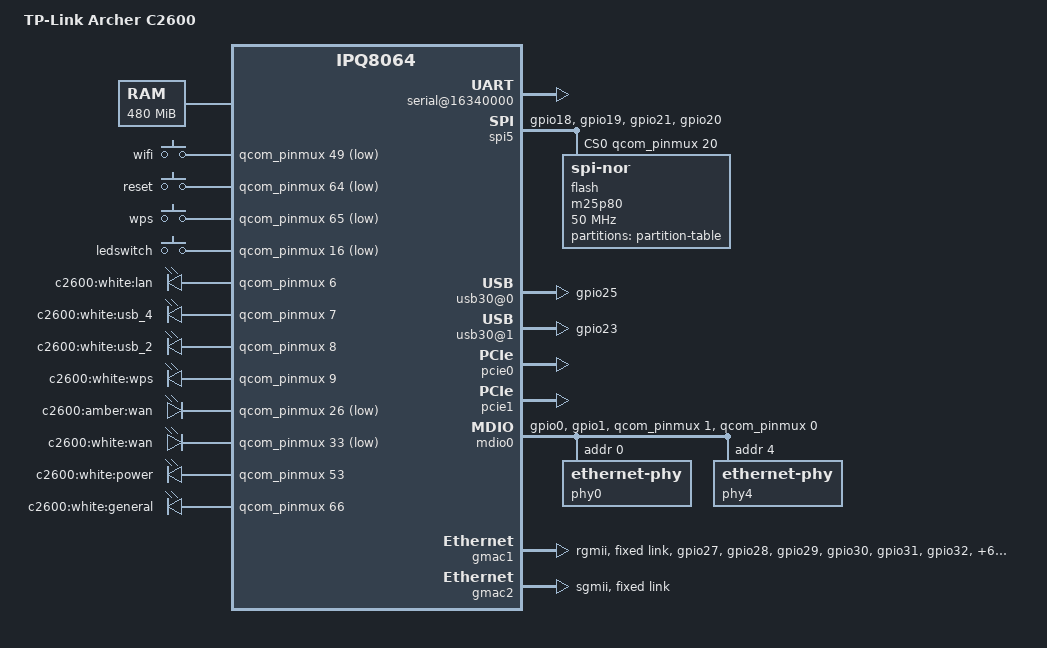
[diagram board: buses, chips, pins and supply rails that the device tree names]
#include "qcom-ipq8064-v2.0.dtsi"

#include <dt-bindings/input/input.h>

/ {
	model = "TP-Link Archer C2600";
	compatible = "tplink,c2600", "qcom,ipq8064";

	memory@0 {
		reg = <0x42000000 0x1e000000>;
		device_type = "memory";
	};

	reserved-memory {
		#address-cells = <1>;
		#size-cells = <1>;
		ranges;
		rsvd@41200000 {
			reg = <0x41200000 0x300000>;
			no-map;
		};
	};

	aliases {
		serial0 = &gsbi4_serial;
		mdio-gpio0 = &mdio0;

		led-boot = &power;
		led-failsafe = &general;
		led-running = &power;
		led-upgrade = &general;
	};

	chosen {
		linux,stdout-path = "serial0:115200n8";
	};

	soc {
		pinmux@800000 {
			button_pins: button_pins {
				mux {
					pins = "gpio16", "gpio54", "gpio65";
					function = "gpio";
					drive-strength = <2>;
					bias-pull-up;
				};
			};

			i2c4_pins: i2c4_pinmux {
				mux {
					pins = "gpio12", "gpio13";
					function = "gsbi4";
					drive-strength = <12>;
					bias-disable;
				};
			};

			led_pins: led_pins {
				mux {
					pins = "gpio6", "gpio7", "gpio8", "gpio9", "gpio26", "gpio33",
					       "gpio53", "gpio66";
					function = "gpio";
					drive-strength = <2>;
					bias-pull-up;
				};
			};

			spi_pins: spi_pins {
				mux {
					pins = "gpio18", "gpio19", "gpio21";
					function = "gsbi5";
					bias-pull-down;
				};

				data {
					pins = "gpio18", "gpio19";
					drive-strength = <10>;
				};

				cs {
					pins = "gpio20";
					function = "gpio";
					drive-strength = <10>;
					bias-pull-up;
				};

				clk {
					pins = "gpio21";
					drive-strength = <12>;
				};
			};

			mdio0_pins: mdio0_pins {
				mux {
					pins = "gpio0", "gpio1";
					function = "gpio";
					drive-strength = <8>;
					bias-disable;
				};
			};

			rgmii2_pins: rgmii2_pins {
				mux {
					pins = "gpio27", "gpio28", "gpio29", "gpio30", "gpio31", "gpio32",
					       "gpio51", "gpio52", "gpio59", "gpio60", "gpio61", "gpio62" ;
					function = "rgmii2";
					drive-strength = <8>;
					bias-disable;
				};
			};

			usb0_pwr_en_pin: usb0_pwr_en_pin {
				mux {
					pins = "gpio25";
					function = "gpio";
					drive-strength = <10>;
					bias-pull-up;
					output-high;
				};
			};

			usb1_pwr_en_pin: usb1_pwr_en_pin {
				mux {
					pins = "gpio23";
					function = "gpio";
					drive-strength = <10>;
					bias-pull-up;
					output-high;
				};
			};
		};

		gsbi@16300000 {
			qcom,mode = <GSBI_PROT_I2C_UART>;
			status = "ok";
			serial@16340000 {
				status = "ok";
			};
			/*
			 * The i2c device on gsbi4 should not be enabled.
			 * On ipq806x designs gsbi4 i2c is meant for exclusive
			 * RPM usage. Turning this on in kernel manifests as
			 * i2c failure for the RPM.
			 */
		};

		gsbi5: gsbi@1a200000 {
			qcom,mode = <GSBI_PROT_SPI>;
			status = "ok";

			spi5: spi@1a280000 {
				status = "ok";

				pinctrl-0 = <&spi_pins>;
				pinctrl-names = "default";

				cs-gpios = <&qcom_pinmux 20 GPIO_ACTIVE_HIGH>;

				flash: m25p80@0 {
					compatible = "jedec,spi-nor";
					#address-cells = <1>;
					#size-cells = <1>;
					spi-max-frequency = <50000000>;
					reg = <0>;

					SBL1@0 {
						label = "SBL1";
						reg = <0x0 0x20000>;
						read-only;
					};

					MIBIB@20000 {
						label = "MIBIB";
						reg = <0x20000 0x20000>;
						read-only;
					};

					SBL2@40000 {
						label = "SBL2";
						reg = <0x40000 0x20000>;
						read-only;
					};

					SBL3@60000 {
						label = "SBL3";
						reg = <0x60000 0x30000>;
						read-only;
					};

					DDRCONFIG@90000 {
						label = "DDRCONFIG";
						reg = <0x90000 0x10000>;
						read-only;
					};

					SSD@a0000 {
						label = "SSD";
						reg = <0xa0000 0x10000>;
						read-only;
					};

					TZ@b0000 {
						label = "TZ";
						reg = <0xb0000 0x30000>;
						read-only;
					};

					RPM@e0000 {
						label = "RPM";
						reg = <0xe0000 0x20000>;
						read-only;
					};

					fs-uboot@100000 {
						label = "fs-uboot";
						reg = <0x100000 0x70000>;
						read-only;
					};

					uboot-env@170000 {
						label = "uboot-env";
						reg = <0x170000 0x40000>;
						read-only;
					};

					radio@1b0000 {
						label = "radio";
						reg = <0x1b0000 0x40000>;
						read-only;
					};

					os-image@1f0000 {
						label = "os-image";
						reg = <0x1f0000 0x400000>;
					};

					rootfs@5f0000 {
						label = "rootfs";
						reg = <0x5f0000 0x1900000>;
					};

					defaultmac: default-mac@1ef0000 {
						label = "default-mac";
						reg = <0x1ef0000 0x00200>;
						read-only;
					};

					pin@1ef0200 {
						label = "pin";
						reg = <0x1ef0200 0x00200>;
						read-only;
					};

					product-info@1ef0400 {
						label = "product-info";
						reg = <0x1ef0400 0x0fc00>;
						read-only;
					};

					partition-table@1f00000 {
						label = "partition-table";
						reg = <0x1f00000 0x10000>;
						read-only;
					};

					soft-version@1f10000 {
						label = "soft-version";
						reg = <0x1f10000 0x10000>;
						read-only;
					};

					support-list@1f20000 {
						label = "support-list";
						reg = <0x1f20000 0x10000>;
						read-only;
					};

					profile@1f30000 {
						label = "profile";
						reg = <0x1f30000 0x10000>;
						read-only;
					};

					default-config@1f40000 {
						label = "default-config";
						reg = <0x1f40000 0x10000>;
						read-only;
					};

					user-config@1f50000 {
						label = "user-config";
						reg = <0x1f50000 0x40000>;
						read-only;
					};

					qos-db@1f90000 {
						label = "qos-db";
						reg = <0x1f90000 0x40000>;
						read-only;
					};

					usb-config@1fd0000 {
						label = "usb-config";
						reg = <0x1fd0000 0x10000>;
						read-only;
					};

					log@1fe0000 {
						label = "log";
						reg = <0x1fe0000 0x20000>;
						read-only;
					};
				};
			};
		};

		phy@100f8800 {		/* USB3 port 1 HS phy */
			status = "ok";
		};

		phy@100f8830 {		/* USB3 port 1 SS phy */
			status = "ok";
		};

		phy@110f8800 {		/* USB3 port 0 HS phy */
			status = "ok";
		};

		phy@110f8830 {		/* USB3 port 0 SS phy */
			status = "ok";
		};

		usb30@0 {
			status = "ok";

			pinctrl-0 = <&usb0_pwr_en_pin>;
			pinctrl-names = "default";
		};

		usb30@1 {
			status = "ok";

			pinctrl-0 = <&usb1_pwr_en_pin>;
			pinctrl-names = "default";
		};

		pcie0: pci@1b500000 {
			status = "ok";
		};

		pcie1: pci@1b700000 {
			status = "ok";
			force_gen1 = <1>;
		};

		mdio0: mdio {
			compatible = "virtual,mdio-gpio";
			#address-cells = <1>;
			#size-cells = <0>;
			gpios = <&qcom_pinmux 1 GPIO_ACTIVE_HIGH &qcom_pinmux 0 GPIO_ACTIVE_HIGH>;
			pinctrl-0 = <&mdio0_pins>;
			pinctrl-names = "default";

			phy0: ethernet-phy@0 {
				reg = <0>;
				qca,ar8327-initvals = <
					0x00004 0x7600000   /* PAD0_MODE */
					0x00008 0x1000000   /* PAD5_MODE */
					0x0000c 0x80        /* PAD6_MODE */
					0x000e4 0x6a545     /* MAC_POWER_SEL */
					0x000e0 0xc74164de  /* SGMII_CTRL */
					0x0007c 0x4e        /* PORT0_STATUS */
					0x00094 0x4e        /* PORT6_STATUS */
					>;
			};

			phy4: ethernet-phy@4 {
				reg = <4>;
			};
		};

		gmac1: ethernet@37200000 {
			status = "ok";
			phy-mode = "rgmii";
			qcom,id = <1>;

			pinctrl-0 = <&rgmii2_pins>;
			pinctrl-names = "default";

			mtd-mac-address = <&defaultmac 0x8>;
			mtd-mac-address-increment = <1>;

			fixed-link {
				speed = <1000>;
				full-duplex;
			};
		};

		gmac2: ethernet@37400000 {
			status = "ok";
			phy-mode = "sgmii";
			qcom,id = <2>;

			mtd-mac-address = <&defaultmac 0x8>;

			fixed-link {
				speed = <1000>;
				full-duplex;
			};
		};
	};

	gpio-keys {
		compatible = "gpio-keys";
		pinctrl-0 = <&button_pins>;
		pinctrl-names = "default";

		wifi {
			label = "wifi";
			gpios = <&qcom_pinmux 49 GPIO_ACTIVE_LOW>;
			linux,code = <KEY_RFKILL>;
		};

		reset {
			label = "reset";
			gpios = <&qcom_pinmux 64 GPIO_ACTIVE_LOW>;
			linux,code = <KEY_RESTART>;
		};

		wps {
			label = "wps";
			gpios = <&qcom_pinmux 65 GPIO_ACTIVE_LOW>;
			linux,code = <KEY_WPS_BUTTON>;
		};

		ledswitch {
			label = "ledswitch";
			gpios = <&qcom_pinmux 16 GPIO_ACTIVE_LOW>;
			linux,code = <KEY_LIGHTS_TOGGLE>;
		};
	};

	gpio-leds {
		compatible = "gpio-leds";
		pinctrl-0 = <&led_pins>;
		pinctrl-names = "default";

		lan {
			label = "c2600:white:lan";
			gpios = <&qcom_pinmux 6 GPIO_ACTIVE_HIGH>;
		};

		usb4 {
			label = "c2600:white:usb_4";
			gpios = <&qcom_pinmux 7 GPIO_ACTIVE_HIGH>;
		};

		usb2 {
			label = "c2600:white:usb_2";
			gpios = <&qcom_pinmux 8 GPIO_ACTIVE_HIGH>;
		};

		wps {
			label = "c2600:white:wps";
			gpios = <&qcom_pinmux 9 GPIO_ACTIVE_HIGH>;
		};

		wan_amber {
			label = "c2600:amber:wan";
			gpios = <&qcom_pinmux 26 GPIO_ACTIVE_LOW>;
		};

		wan_white {
			label = "c2600:white:wan";
			gpios = <&qcom_pinmux 33 GPIO_ACTIVE_LOW>;
		};

		power: power {
			label = "c2600:white:power";
			gpios = <&qcom_pinmux 53 GPIO_ACTIVE_HIGH>;
			default-state = "keep";
		};

		general: general {
			label = "c2600:white:general";
			gpios = <&qcom_pinmux 66 GPIO_ACTIVE_HIGH>;
		};
	};
};

&adm_dma {
	status = "ok";
};
